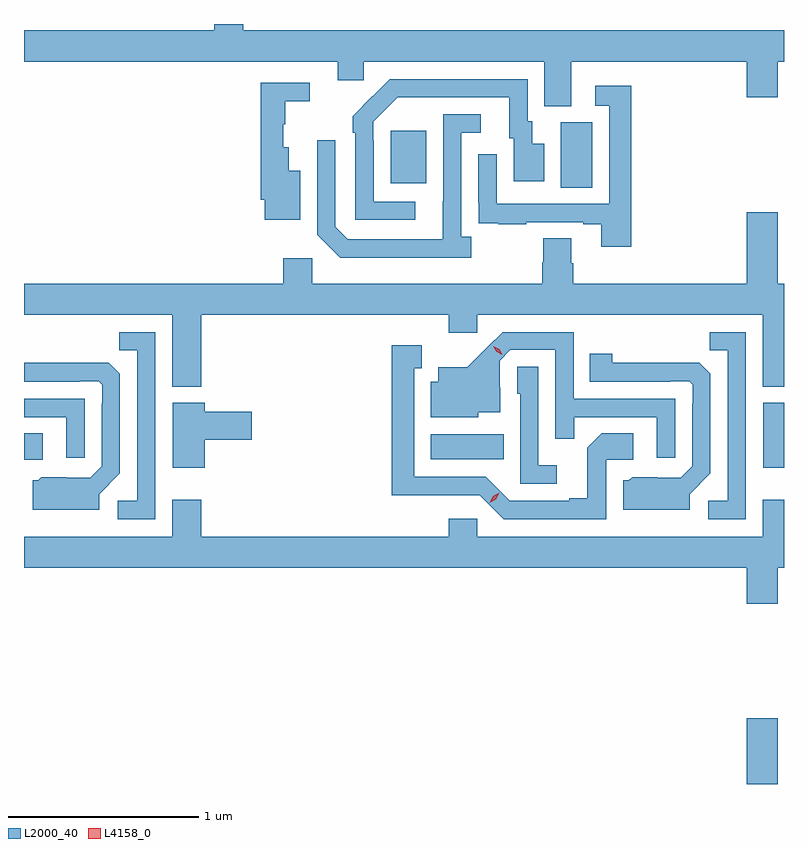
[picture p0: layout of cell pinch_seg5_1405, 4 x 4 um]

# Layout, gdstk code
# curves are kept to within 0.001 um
import gdstk
lib = gdstk.Library(unit=1e-6, precision=1e-09)
def R(c, l, rs):  # rectangles x0, y0, x1, y1
    for r in rs: c.add(gdstk.rectangle(r[:2], r[2:], *l))
def P(c, l, *ps):  # polygons
    for p in ps: c.add(gdstk.Polygon(p, *l))
L2000_40 = (2000, 40)
L4158_0 = (4158, 0)

pinch_seg5_1405 = lib.new_cell('pinch_seg5_1405')
R(pinch_seg5_1405, L2000_40, [(141.032,903.574,141.196,903.919), (141.119,905.238,141.228,905.581), (137.228,905.28,137.326,905.42), (139.37,905.282,139.754,905.416), (140.054,906.712,140.218,907.056), (139.157,906.737,139.345,907.012)])
P(pinch_seg5_1405, L2000_40, [(138.383,907.574),(138.23,907.574),(138.23,907.54),(137.228,907.54),(137.228,907.376),(138.878,907.376),(138.878,907.278),(139.017,907.278),(139.017,907.376),(139.967,907.376),(139.967,907.141),(140.107,907.141),(140.107,907.376),(141.032,907.376),(141.032,907.188),(141.196,907.188),(141.196,907.376),(141.228,907.376),(141.228,907.54),(138.383,907.54)],
  [(139.288,906.639),(139.068,906.639),(139.068,906.959),(139.065,906.959),(139.065,907.059),(139.194,907.188),(139.781,907.188),(139.781,906.972),(139.805,906.972),(139.805,906.747),(139.966,906.747),(139.966,906.943),(139.903,906.943),(139.903,907.062),(139.878,907.062),(139.878,907.284),(139.154,907.284),(138.957,907.089),(138.957,907.001),(138.972,907.001),(138.972,906.543),(139.288,906.543)],
  [(138.682,906.802),(138.622,906.802),(138.622,906.925),(138.593,906.925),(138.593,907.047),(138.604,907.047),(138.604,907.168),(138.733,907.168),(138.733,907.266),(138.475,907.266),(138.475,906.649),(138.494,906.649),(138.494,906.545),(138.682,906.545)],
  [(140.423,907.249),(140.235,907.249),(140.235,907.143),(140.307,907.143),(140.307,906.627),(139.716,906.627),(139.716,906.889),(139.62,906.889),(139.62,906.634),(139.621,906.634),(139.621,906.525),(139.723,906.525),(139.723,906.519),(139.871,906.519),(139.871,906.531),(140.171,906.531),(140.171,906.519),(140.267,906.519),(140.267,906.402),(140.423,906.402)],
  [(139.582,906.454),(139.53,906.454),(139.53,907.002),(139.633,907.002),(139.633,907.098),(139.434,907.098),(139.433,906.441),(138.933,906.441),(138.867,906.507),(138.867,906.961),(138.771,906.961),(138.771,906.465),(138.892,906.344),(139.582,906.344)],
  [(138.161,906.044),(139.463,906.044),(139.463,905.949),(139.614,905.949),(139.614,906.044),(141.116,906.044),(141.116,905.666),(141.228,905.666),(141.228,906.208),(141.196,906.208),(141.196,906.583),(141.032,906.583),(141.032,906.208),(140.12,906.208),(140.12,906.314),(140.107,906.314),(140.107,906.446),(139.96,906.446),(139.96,906.321),(139.955,906.321),(139.955,906.208),(138.744,906.208),(138.744,906.34),(138.593,906.34),(138.593,906.208),(137.228,906.208),(137.228,906.044),(138.008,906.044),(138.008,905.666),(138.161,905.666)],
  [(141.027,905.952),(140.836,905.952),(140.836,905.857),(140.931,905.857),(140.931,905.064),(140.829,905.064),(140.829,904.968),(141.027,904.968)],
  [(137.919,905.952),(137.728,905.952),(137.728,905.857),(137.823,905.857),(137.823,905.064),(137.721,905.064),(137.721,904.968),(137.919,904.968)],
  [(140.655,905.601),(140.121,905.601),(140.121,905.952),(139.748,905.952),(139.561,905.767),(139.409,905.767),(139.409,905.691),(139.37,905.691),(139.37,905.504),(139.62,905.504),(139.62,905.531),(139.735,905.531),(139.735,905.66),(139.731,905.66),(139.731,905.802),(139.788,905.859),(140.025,905.859),(140.025,905.392),(140.123,905.392),(140.123,905.505),(140.559,905.505),(140.559,905.292),(140.655,905.292)],
  [(140.292,905.28),(140.434,905.28),(140.434,905.42),(140.269,905.42),(140.193,905.344),(140.193,905.077),(140.099,905.077),(140.099,905.064),(139.785,905.064),(139.659,905.19),(139.282,905.19),(139.282,905.763),(139.321,905.763),(139.321,905.884),(139.164,905.884),(139.164,905.093),(139.626,905.094),(139.752,904.968),(140.292,904.968)],
  [(140.731,905.1),(140.841,905.21),(140.841,905.732),(140.782,905.791),(140.325,905.792),(140.325,905.839),(140.206,905.839),(140.206,905.691),(140.63,905.691),(140.63,905.694),(140.73,905.694),(140.748,905.676),(140.748,905.576),(140.745,905.576),(140.745,905.247),(140.685,905.187),(140.428,905.188),(140.412,905.172),(140.381,905.172),(140.381,905.018),(140.731,905.018)],
  [(137.623,905.1),(137.733,905.21),(137.733,905.732),(137.674,905.791),(137.228,905.792),(137.228,905.691),(137.522,905.691),(137.522,905.694),(137.622,905.694),(137.64,905.676),(137.64,905.576),(137.637,905.576),(137.637,905.247),(137.577,905.187),(137.32,905.188),(137.304,905.172),(137.273,905.172),(137.273,905.018),(137.623,905.018)],
  [(140.032,905.251),(139.935,905.251),(139.935,905.771),(139.824,905.771),(139.824,905.628),(139.839,905.628),(139.839,905.154),(140.032,905.154)],
  [(137.547,905.601),(137.228,905.601),(137.228,905.505),(137.451,905.505),(137.451,905.292),(137.547,905.292)],
  [(138.178,905.387),(138.427,905.387),(138.427,905.534),(138.178,905.534),(138.178,905.581),(138.011,905.581),(138.011,905.238),(138.178,905.238)],
  [(141.196,904.712),(141.228,904.712),(141.228,905.071),(141.116,905.071),(141.116,904.876),(139.614,904.876),(139.614,904.969),(139.463,904.969),(139.463,904.876),(138.161,904.876),(138.161,905.071),(138.008,905.071),(138.008,904.876),(137.228,904.876),(137.228,904.712),(141.032,904.712),(141.032,904.524),(141.196,904.524)])
P(pinch_seg5_1405, L4158_0, [(139.68,905.055),(139.68,905.055),(139.697,905.088),(139.728,905.107),(139.729,905.107),(139.729,905.106),(139.711,905.074),(139.68,905.055)],
  [(139.745,905.833),(139.715,905.848),(139.697,905.878),(139.697,905.878),(139.697,905.878),(139.728,905.863),(139.746,905.833),(139.746,905.833)])

lib.write_gds('pinch_seg5_1405.gds')
